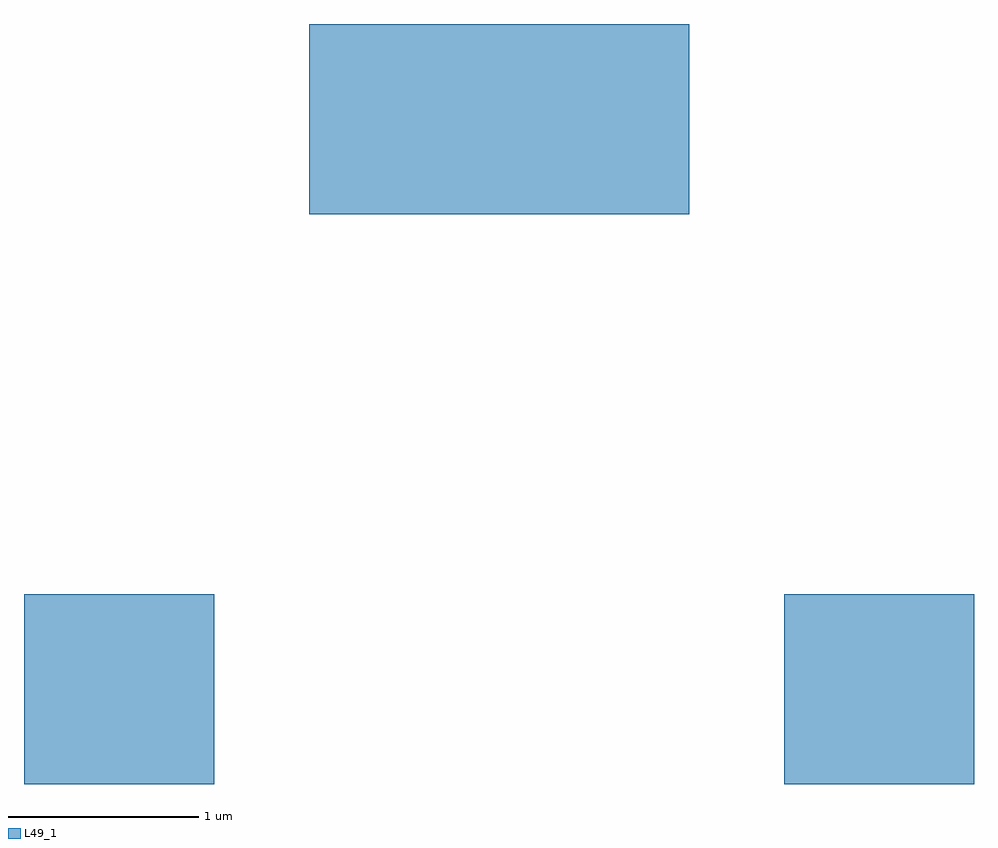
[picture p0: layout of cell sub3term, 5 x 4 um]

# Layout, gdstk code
import gdstk
lib = gdstk.Library(unit=1e-6, precision=1e-10)
def R(c, l, rs):  # rectangles x0, y0, x1, y1
    for r in rs: c.add(gdstk.rectangle(r[:2], r[2:], *l))
L49_1 = (49, 1)

sub3term = lib.new_cell('sub3term')
R(sub3term, L49_1, [(0,0,1,1), (0,0,1,1), (4,0,5,1), (4,0,5,1), (1.5,3,3.5,4), (1.5,3,3.5,4)])

lib.write_gds('sub3term.gds')
